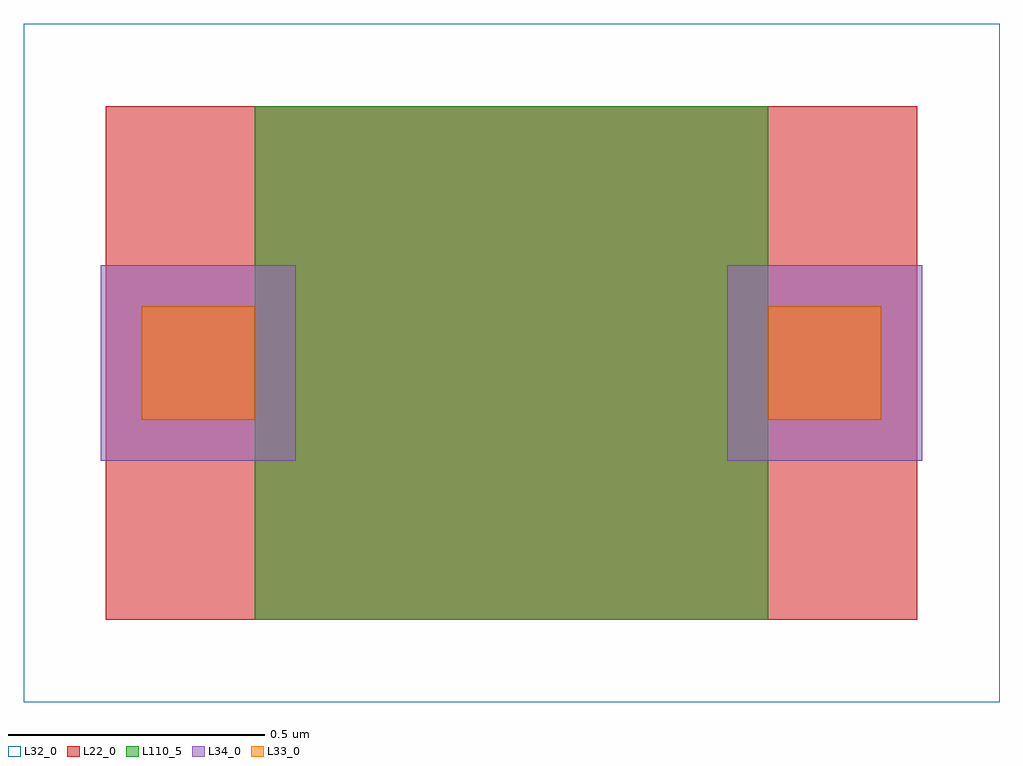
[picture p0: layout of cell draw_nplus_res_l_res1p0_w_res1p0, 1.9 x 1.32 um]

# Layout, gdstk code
import gdstk
lib = gdstk.Library(unit=1e-6, precision=1e-09)
def R(c, l, rs):  # rectangles x0, y0, x1, y1
    for r in rs: c.add(gdstk.rectangle(r[:2], r[2:], *l))
L22_0 = (22, 0)
L32_0 = (32, 0)
L33_0 = (33, 0)
L34_0 = (34, 0)
L110_5 = (110, 5)

draw_nplus_res_l_res1p0_ = lib.new_cell('draw_nplus_res_l_res1p0_w_res1p0')
R(draw_nplus_res_l_res1p0_, L22_0, [(-0.29,0,1.29,1)])
R(draw_nplus_res_l_res1p0_, L32_0, [(-0.45,-0.16,1.45,1.16)])
R(draw_nplus_res_l_res1p0_, L33_0, [(-0.22,0.39,0,0.61), (1,0.39,1.22,0.61)])
R(draw_nplus_res_l_res1p0_, L34_0, [(-0.3,0.31,0.08,0.69), (0.92,0.31,1.3,0.69)])
R(draw_nplus_res_l_res1p0_, L110_5, [(0,0,1,1)])

lib.write_gds('draw_nplus_res_l_res1p0_w_res1p0.gds')
